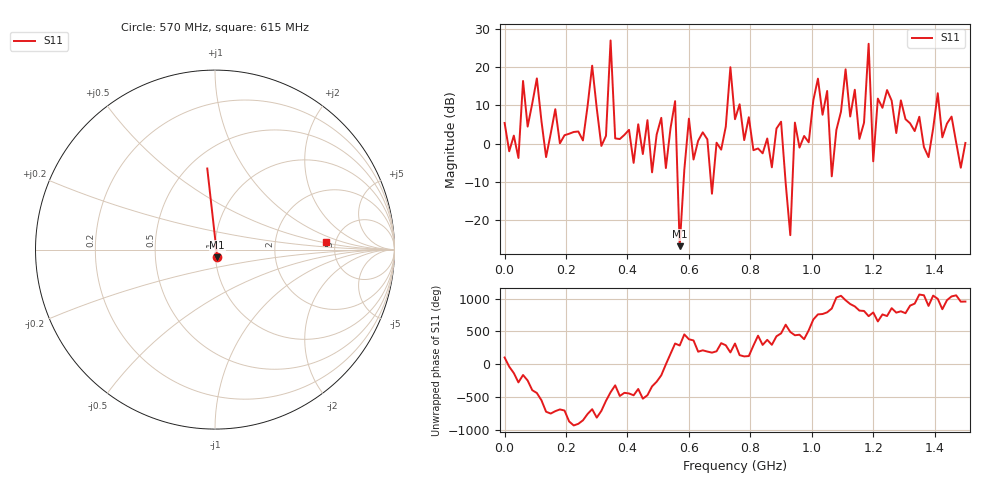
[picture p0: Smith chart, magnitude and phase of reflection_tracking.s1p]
! Created with skrf 1.8.0 (http://scikit-rf.org).
# Hz S RI R 50.0
!freq ReS11 ImS11
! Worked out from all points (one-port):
!   101 points, 50 kHz to 1.5 GHz, reference 50 ohm
!   lowest |S11| = -26.8 dB at 570 MHz (marker M1), VSWR 1.10, Z = 51.1 - j4.48 ohm
!   |S11| at or under -10 dB: 563.4 MHz to 582.7 MHz (19.3 MHz wide, 3.37 % of centre); 671.8 MHz to 678.5 MHz (6.768 MHz wide, 1 % of centre); 914.7 MHz to 937.1 MHz (22.46 MHz wide, 2.43 % of centre)
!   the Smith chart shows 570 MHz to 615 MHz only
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50000  -0.4197 1.814
6.0048e7  -6.335 -1.822
1.050465e8  1.345 -7
1.20046e8  -1.931 0.3579
1.950435e8  1.249 0.3071
2.550415e8  -0.7903 -0.7649
2.850405e8  8.637 5.864
3.0004e8  -0.2268 -2.875
3.30039e8  -1.197 0.4006
3.450385e8  8.55 -20.62
3.60038e8  0.9195 0.7235
3.750375e8  -0.6487 -0.9462
5.70031e8  0.0126 -0.0438
7.20026e8  0.5533 -1.571
7.350255e8  -9.98 -0.0176
7.50025e8  1.507 -1.439
9.450185e8  0.2567 1.863
1.005016e9  2.955 -2.203
1.050015e9  1.498 4.64
1.110013e9  -2.172 -9.108
1.125012e9  -2.132 -0.7425
1.170011e9  -0.1033 1.873
1.18501e9  19.62 4.798
1.20001e9  0.1977 0.5518
1.245008e9  4.827 1.355
1.260008e9  -2.621 2.532
1.320006e9  -1.832 0.1819
1.5e9  -0.5614 -0.8517
